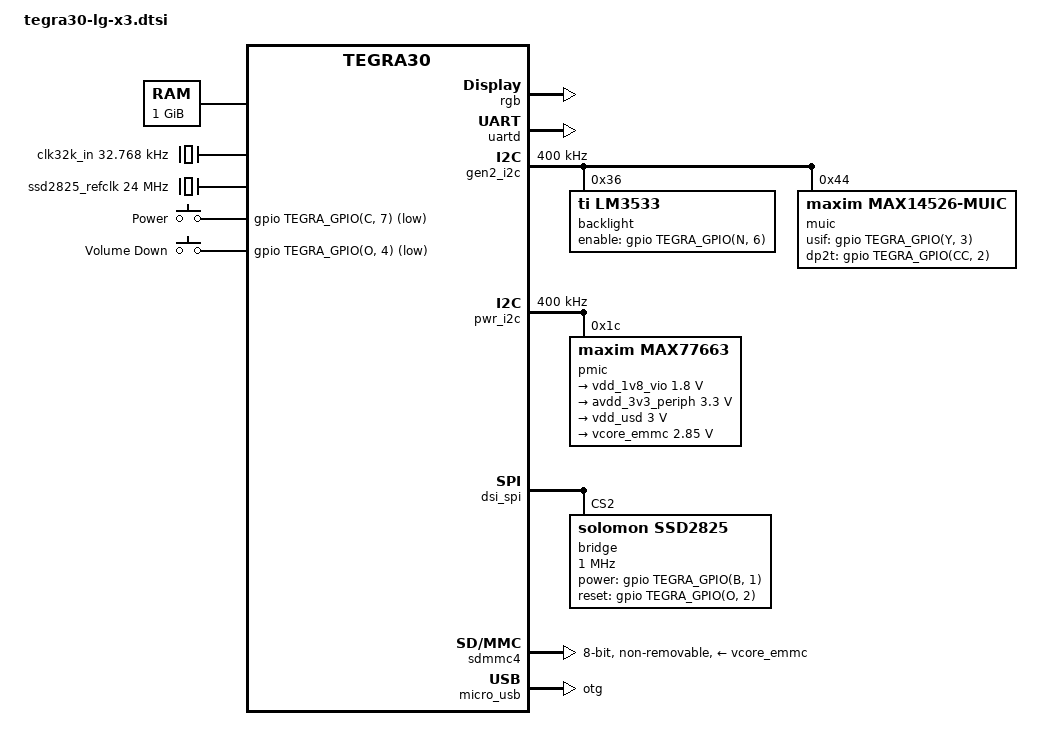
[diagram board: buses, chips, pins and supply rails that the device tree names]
// SPDX-License-Identifier: GPL-2.0

#include <dt-bindings/input/input.h>
#include "tegra30.dtsi"

/ {
	chosen {
		stdout-path = &uartd;
	};

	aliases {
		i2c0 = &pwr_i2c;
		i2c1 = &gen2_i2c;

		mmc0 = &sdmmc4;	/* eMMC */

		rtc0 = &pmic;
		rtc1 = "/rtc@7000e000";

		spi0 = &dsi_spi;

		usb0 = &micro_usb;
	};

	memory {
		device_type = "memory";
		reg = <0x80000000 0x40000000>;
	};

	host1x@50000000 {
		dc@54200000 {
			rgb {
				status = "okay";

				nvidia,panel = <&bridge>;
			};
		};
	};

	pinmux@70000868 {
		pinctrl-names = "default";
		pinctrl-0 = <&state_default>;

		state_default: pinmux {
			/* WLAN SDIO pinmux */
			sdmmc1_clk {
				nvidia,pins = "sdmmc1_clk_pz0";
				nvidia,function = "sdmmc1";
				nvidia,pull = <TEGRA_PIN_PULL_NONE>;
				nvidia,tristate = <TEGRA_PIN_DISABLE>;
				nvidia,enable-input = <TEGRA_PIN_ENABLE>;
			};
			sdmmc1_cmd {
				nvidia,pins = "sdmmc1_cmd_pz1",
						"sdmmc1_dat3_py4",
						"sdmmc1_dat2_py5",
						"sdmmc1_dat1_py6",
						"sdmmc1_dat0_py7";
				nvidia,function = "sdmmc1";
				nvidia,pull = <TEGRA_PIN_PULL_UP>;
				nvidia,tristate = <TEGRA_PIN_DISABLE>;
				nvidia,enable-input = <TEGRA_PIN_ENABLE>;
			};
			wlan_reset {
				nvidia,pins = "pv3";
				nvidia,function = "rsvd2";
				nvidia,pull = <TEGRA_PIN_PULL_NONE>;
				nvidia,tristate = <TEGRA_PIN_DISABLE>;
				nvidia,enable-input = <TEGRA_PIN_DISABLE>;
			};
			wlan_host_wake {
				nvidia,pins = "pu6";
				nvidia,function = "pwm3";
				nvidia,pull = <TEGRA_PIN_PULL_DOWN>;
				nvidia,tristate = <TEGRA_PIN_DISABLE>;
				nvidia,enable-input = <TEGRA_PIN_ENABLE>;
			};

			/* GNSS UART-B pinmux */
			gps_pwr_en {
				nvidia,pins = "kb_row6_pr6";
				nvidia,function = "kbc";
				nvidia,pull = <TEGRA_PIN_PULL_DOWN>;
				nvidia,tristate = <TEGRA_PIN_DISABLE>;
				nvidia,enable-input = <TEGRA_PIN_DISABLE>;
			};
			gps_ldo_en {
				nvidia,pins = "ulpi_dir_py1";
				nvidia,function = "rsvd2";
				nvidia,pull = <TEGRA_PIN_PULL_NONE>;
				nvidia,tristate = <TEGRA_PIN_DISABLE>;
				nvidia,enable-input = <TEGRA_PIN_DISABLE>;
			};
			gps_clk_ref {
				nvidia,pins = "gmi_ad8_ph0";
				nvidia,function = "gmi";
				nvidia,pull = <TEGRA_PIN_PULL_NONE>;
				nvidia,tristate = <TEGRA_PIN_DISABLE>;
				nvidia,enable-input = <TEGRA_PIN_DISABLE>;
			};

			/* Bluetooth UART-C pinmux */
			uartc_cts_rxd {
				nvidia,pins = "uart3_cts_n_pa1",
						"uart3_rxd_pw7";
				nvidia,function = "uartc";
				nvidia,pull = <TEGRA_PIN_PULL_NONE>;
				nvidia,tristate = <TEGRA_PIN_DISABLE>;
				nvidia,enable-input = <TEGRA_PIN_ENABLE>;
			};
			uartc_rts_txd {
				nvidia,pins = "uart3_rts_n_pc0",
						"uart3_txd_pw6";
				nvidia,function = "uartc";
				nvidia,pull = <TEGRA_PIN_PULL_NONE>;
				nvidia,tristate = <TEGRA_PIN_DISABLE>;
				nvidia,enable-input = <TEGRA_PIN_DISABLE>;
			};
			bt_reset {
				nvidia,pins = "clk2_req_pcc5";
				nvidia,function = "dap";
				nvidia,pull = <TEGRA_PIN_PULL_NONE>;
				nvidia,tristate = <TEGRA_PIN_DISABLE>;
				nvidia,enable-input = <TEGRA_PIN_DISABLE>;
			};
			bt_dev_wake {
				nvidia,pins = "kb_row11_ps3";
				nvidia,function = "kbc";
				nvidia,pull = <TEGRA_PIN_PULL_DOWN>;
				nvidia,tristate = <TEGRA_PIN_DISABLE>;
				nvidia,enable-input = <TEGRA_PIN_DISABLE>;
			};
			bt_host_wake {
				nvidia,pins = "kb_row12_ps4";
				nvidia,function = "kbc";
				nvidia,pull = <TEGRA_PIN_PULL_DOWN>;
				nvidia,tristate = <TEGRA_PIN_DISABLE>;
				nvidia,enable-input = <TEGRA_PIN_ENABLE>;
			};
			bt_pcm_dap4 {
				nvidia,pins = "dap4_fs_pp4",
						"dap4_din_pp5",
						"dap4_dout_pp6",
						"dap4_sclk_pp7";
				nvidia,function = "i2s3";
				nvidia,pull = <TEGRA_PIN_PULL_NONE>;
				nvidia,tristate = <TEGRA_PIN_DISABLE>;
				nvidia,enable-input = <TEGRA_PIN_ENABLE>;
			};

			/* EMMC pinmux */
			sdmmc4_clk {
				nvidia,pins = "sdmmc4_clk_pcc4";
				nvidia,function = "sdmmc4";
				nvidia,pull = <TEGRA_PIN_PULL_NONE>;
				nvidia,tristate = <TEGRA_PIN_DISABLE>;
				nvidia,enable-input = <TEGRA_PIN_ENABLE>;
			};
			sdmmc4_data {
				nvidia,pins = "sdmmc4_cmd_pt7",
						"sdmmc4_dat0_paa0",
						"sdmmc4_dat1_paa1",
						"sdmmc4_dat2_paa2",
						"sdmmc4_dat3_paa3",
						"sdmmc4_dat4_paa4",
						"sdmmc4_dat5_paa5",
						"sdmmc4_dat6_paa6",
						"sdmmc4_dat7_paa7";
				nvidia,function = "sdmmc4";
				nvidia,pull = <TEGRA_PIN_PULL_UP>;
				nvidia,tristate = <TEGRA_PIN_DISABLE>;
				nvidia,enable-input = <TEGRA_PIN_ENABLE>;
			};
			sdmmc4_reset {
				nvidia,pins = "sdmmc4_rst_n_pcc3";
				nvidia,function = "rsvd2";
				nvidia,pull = <TEGRA_PIN_PULL_DOWN>;
				nvidia,tristate = <TEGRA_PIN_DISABLE>;
				nvidia,enable-input = <TEGRA_PIN_ENABLE>;
			};

			/* I2C pinmux */
			gen1_i2c {
				nvidia,pins = "gen1_i2c_scl_pc4",
						"gen1_i2c_sda_pc5";
				nvidia,function = "i2c1";
				nvidia,pull = <TEGRA_PIN_PULL_NONE>;
				nvidia,tristate = <TEGRA_PIN_DISABLE>;
				nvidia,enable-input = <TEGRA_PIN_ENABLE>;
				nvidia,open-drain = <TEGRA_PIN_ENABLE>;
				nvidia,lock = <TEGRA_PIN_DISABLE>;
			};

			gen2_i2c {
				nvidia,pins = "gen2_i2c_scl_pt5",
						"gen2_i2c_sda_pt6";
				nvidia,function = "i2c2";
				nvidia,pull = <TEGRA_PIN_PULL_NONE>;
				nvidia,tristate = <TEGRA_PIN_DISABLE>;
				nvidia,enable-input = <TEGRA_PIN_ENABLE>;
				nvidia,open-drain = <TEGRA_PIN_ENABLE>;
				nvidia,lock = <TEGRA_PIN_DISABLE>;
			};

			cam_i2c {
				nvidia,pins = "cam_i2c_scl_pbb1",
						"cam_i2c_sda_pbb2";
				nvidia,function = "i2c3";
				nvidia,pull = <TEGRA_PIN_PULL_NONE>;
				nvidia,tristate = <TEGRA_PIN_DISABLE>;
				nvidia,enable-input = <TEGRA_PIN_ENABLE>;
				nvidia,open-drain = <TEGRA_PIN_ENABLE>;
				nvidia,lock = <TEGRA_PIN_DISABLE>;
			};

			ddc_i2c {
				nvidia,pins = "ddc_scl_pv4",
						"ddc_sda_pv5";
				nvidia,function = "i2c4";
				nvidia,pull = <TEGRA_PIN_PULL_NONE>;
				nvidia,tristate = <TEGRA_PIN_DISABLE>;
				nvidia,enable-input = <TEGRA_PIN_ENABLE>;
				nvidia,lock = <TEGRA_PIN_DISABLE>;
			};

			pwr_i2c {
				nvidia,pins = "pwr_i2c_scl_pz6",
						"pwr_i2c_sda_pz7";
				nvidia,function = "i2cpwr";
				nvidia,pull = <TEGRA_PIN_PULL_NONE>;
				nvidia,tristate = <TEGRA_PIN_DISABLE>;
				nvidia,enable-input = <TEGRA_PIN_ENABLE>;
				nvidia,open-drain = <TEGRA_PIN_ENABLE>;
				nvidia,lock = <TEGRA_PIN_DISABLE>;
			};

			mhl_i2c {
				nvidia,pins = "kb_col6_pq6",
						"kb_col7_pq7";
				nvidia,function = "kbc";
				nvidia,pull = <TEGRA_PIN_PULL_NONE>;
				nvidia,tristate = <TEGRA_PIN_DISABLE>;
				nvidia,enable-input = <TEGRA_PIN_ENABLE>;
			};

			/* GPIO keys pinmux */
			power_key {
				nvidia,pins = "gmi_wp_n_pc7";
				nvidia,function = "gmi";
				nvidia,pull = <TEGRA_PIN_PULL_UP>;
				nvidia,tristate = <TEGRA_PIN_DISABLE>;
				nvidia,enable-input = <TEGRA_PIN_ENABLE>;
			};
			volume_down {
				nvidia,pins = "ulpi_data3_po4";
				nvidia,function = "spi3";
				nvidia,pull = <TEGRA_PIN_PULL_UP>;
				nvidia,tristate = <TEGRA_PIN_DISABLE>;
				nvidia,enable-input = <TEGRA_PIN_ENABLE>;
			};

			/* Sensors pinmux */
			sen_vdd {
				nvidia,pins = "spi1_miso_px7";
				nvidia,function = "rsvd4";
				nvidia,pull = <TEGRA_PIN_PULL_NONE>;
				nvidia,tristate = <TEGRA_PIN_DISABLE>;
				nvidia,enable-input = <TEGRA_PIN_DISABLE>;
			};
			proxi_vdd {
				nvidia,pins = "spi2_miso_px1";
				nvidia,function = "gmi";
				nvidia,pull = <TEGRA_PIN_PULL_NONE>;
				nvidia,tristate = <TEGRA_PIN_DISABLE>;
				nvidia,enable-input = <TEGRA_PIN_DISABLE>;
			};
			sen_vio {
				nvidia,pins = "lcd_dc1_pd2";
				nvidia,function = "rsvd4";
				nvidia,pull = <TEGRA_PIN_PULL_NONE>;
				nvidia,tristate = <TEGRA_PIN_DISABLE>;
				nvidia,enable-input = <TEGRA_PIN_DISABLE>;
			};
			nct_irq {
				nvidia,pins = "gmi_iordy_pi5";
				nvidia,function = "rsvd1";
				nvidia,pull = <TEGRA_PIN_PULL_NONE>;
				nvidia,tristate = <TEGRA_PIN_DISABLE>;
				nvidia,enable-input = <TEGRA_PIN_ENABLE>;
			};
			bat_irq {
				nvidia,pins = "kb_row8_ps0";
				nvidia,function = "kbc";
				nvidia,pull = <TEGRA_PIN_PULL_UP>;
				nvidia,tristate = <TEGRA_PIN_DISABLE>;
				nvidia,enable-input = <TEGRA_PIN_ENABLE>;
			};
			charger_irq {
				nvidia,pins = "gmi_cs1_n_pj2";
				nvidia,function = "rsvd1";
				nvidia,pull = <TEGRA_PIN_PULL_UP>;
				nvidia,tristate = <TEGRA_PIN_DISABLE>;
				nvidia,enable-input = <TEGRA_PIN_ENABLE>;
			};
			mpu_irq {
				nvidia,pins = "gmi_ad12_ph4";
				nvidia,function = "rsvd1";
				nvidia,pull = <TEGRA_PIN_PULL_UP>;
				nvidia,tristate = <TEGRA_PIN_DISABLE>;
				nvidia,enable-input = <TEGRA_PIN_ENABLE>;
			};
			compass_irq {
				nvidia,pins = "gmi_ad13_ph5";
				nvidia,function = "rsvd1";
				nvidia,pull = <TEGRA_PIN_PULL_UP>;
				nvidia,tristate = <TEGRA_PIN_DISABLE>;
				nvidia,enable-input = <TEGRA_PIN_ENABLE>;
			};
			light_irq {
				nvidia,pins = "gmi_cs4_n_pk2";
				nvidia,function = "rsvd1";
				nvidia,pull = <TEGRA_PIN_PULL_UP>;
				nvidia,tristate = <TEGRA_PIN_DISABLE>;
				nvidia,enable-input = <TEGRA_PIN_ENABLE>;
			};

			/* LED pinmux */
			backlight_en {
				nvidia,pins = "lcd_dc0_pn6";
				nvidia,function = "rsvd3";
				nvidia,pull = <TEGRA_PIN_PULL_DOWN>;
				nvidia,tristate = <TEGRA_PIN_DISABLE>;
				nvidia,enable-input = <TEGRA_PIN_DISABLE>;
			};
			flash_led_en {
				nvidia,pins = "pbb3";
				nvidia,function = "vgp3";
				nvidia,pull = <TEGRA_PIN_PULL_NONE>;
				nvidia,tristate = <TEGRA_PIN_DISABLE>;
				nvidia,enable-input = <TEGRA_PIN_DISABLE>;
			};
			keypad_led {
				nvidia,pins = "kb_row2_pr2",
						"kb_row3_pr3";
				nvidia,function = "rsvd3";
				nvidia,pull = <TEGRA_PIN_PULL_DOWN>;
				nvidia,tristate = <TEGRA_PIN_DISABLE>;
				nvidia,enable-input = <TEGRA_PIN_DISABLE>;
			};

			/* NFC pinmux */
			nfc_irq {
				nvidia,pins = "spi2_cs1_n_pw2";
				nvidia,function = "spi2";
				nvidia,pull = <TEGRA_PIN_PULL_NONE>;
				nvidia,tristate = <TEGRA_PIN_DISABLE>;
				nvidia,enable-input = <TEGRA_PIN_ENABLE>;
			};
			nfc_ven {
				nvidia,pins = "spi1_sck_px5";
				nvidia,function = "spi1";
				nvidia,pull = <TEGRA_PIN_PULL_NONE>;
				nvidia,tristate = <TEGRA_PIN_DISABLE>;
				nvidia,enable-input = <TEGRA_PIN_DISABLE>;
			};
			nfc_firm {
				nvidia,pins = "kb_row0_pr0";
				nvidia,function = "rsvd4";
				nvidia,pull = <TEGRA_PIN_PULL_NONE>;
				nvidia,tristate = <TEGRA_PIN_DISABLE>;
				nvidia,enable-input = <TEGRA_PIN_DISABLE>;
			};

			/* DC pinmux */
			lcd_pwr {
				nvidia,pins = "lcd_pwr0_pb2",
						"lcd_pwr1_pc1";
				nvidia,function = "displaya";
				nvidia,pull = <TEGRA_PIN_PULL_NONE>;
				nvidia,tristate = <TEGRA_PIN_DISABLE>;
				nvidia,enable-input = <TEGRA_PIN_DISABLE>;
			};
			lcd_wr_n {
				nvidia,pins = "lcd_wr_n_pz3";
				nvidia,function = "displaya";
				nvidia,pull = <TEGRA_PIN_PULL_NONE>;
				nvidia,tristate = <TEGRA_PIN_DISABLE>;
				nvidia,enable-input = <TEGRA_PIN_ENABLE>;
			};
			lcd_id {
				nvidia,pins = "lcd_m1_pw1";
				nvidia,function = "displaya";
				nvidia,pull = <TEGRA_PIN_PULL_NONE>;
				nvidia,tristate = <TEGRA_PIN_ENABLE>;
				nvidia,enable-input = <TEGRA_PIN_DISABLE>;
			};
			lcd_pclk {
				nvidia,pins = "lcd_pclk_pb3",
						"lcd_de_pj1",
						"lcd_hsync_pj3",
						"lcd_vsync_pj4";
				nvidia,function = "displaya";
				nvidia,pull = <TEGRA_PIN_PULL_NONE>;
				nvidia,tristate = <TEGRA_PIN_DISABLE>;
				nvidia,enable-input = <TEGRA_PIN_ENABLE>;
			};

			lcd_rgb_blue {
				nvidia,pins = "lcd_d0_pe0",
						"lcd_d1_pe1",
						"lcd_d2_pe2",
						"lcd_d3_pe3",
						"lcd_d4_pe4",
						"lcd_d5_pe5",
						"lcd_d18_pm2",
						"lcd_d19_pm3";
				nvidia,function = "displaya";
				nvidia,pull = <TEGRA_PIN_PULL_NONE>;
				nvidia,tristate = <TEGRA_PIN_DISABLE>;
				nvidia,enable-input = <TEGRA_PIN_ENABLE>;
			};
			lcd_rgb_green {
				nvidia,pins = "lcd_d6_pe6",
						"lcd_d7_pe7",
						"lcd_d8_pf0",
						"lcd_d9_pf1",
						"lcd_d10_pf2",
						"lcd_d11_pf3",
						"lcd_d20_pm4",
						"lcd_d21_pm5";
				nvidia,function = "displaya";
				nvidia,pull = <TEGRA_PIN_PULL_NONE>;
				nvidia,tristate = <TEGRA_PIN_DISABLE>;
				nvidia,enable-input = <TEGRA_PIN_ENABLE>;
			};
			lcd_rgb_red {
				nvidia,pins = "lcd_d12_pf4",
						"lcd_d13_pf5",
						"lcd_d14_pf6",
						"lcd_d15_pf7",
						"lcd_d16_pm0",
						"lcd_d17_pm1",
						"lcd_d22_pm6",
						"lcd_d23_pm7";
				nvidia,function = "displaya";
				nvidia,pull = <TEGRA_PIN_PULL_NONE>;
				nvidia,tristate = <TEGRA_PIN_DISABLE>;
				nvidia,enable-input = <TEGRA_PIN_ENABLE>;
			};

			/* Bridge pinmux */
			bridge_reset {
				nvidia,pins = "ulpi_data1_po2";
				nvidia,function = "spi3";
				nvidia,pull = <TEGRA_PIN_PULL_UP>;
				nvidia,tristate = <TEGRA_PIN_DISABLE>;
				nvidia,enable-input = <TEGRA_PIN_DISABLE>;
			};
			rgb_ic_en {
				nvidia,pins = "gmi_a18_pb1";
				nvidia,function = "uartd";
				nvidia,pull = <TEGRA_PIN_PULL_DOWN>;
				nvidia,tristate = <TEGRA_PIN_DISABLE>;
				nvidia,enable-input = <TEGRA_PIN_DISABLE>;
			};
			bridge_clk {
				nvidia,pins = "clk3_out_pee0";
				nvidia,function = "extperiph3";
				nvidia,pull = <TEGRA_PIN_PULL_NONE>;
				nvidia,tristate = <TEGRA_PIN_DISABLE>;
				nvidia,enable-input = <TEGRA_PIN_ENABLE>;
			};

			rgb_bridge {
				nvidia,pins = "lcd_sdin_pz2",
						"lcd_sdout_pn5",
						"lcd_cs0_n_pn4",
						"lcd_sck_pz4";
				nvidia,function = "spi5";
				nvidia,pull = <TEGRA_PIN_PULL_NONE>;
				nvidia,tristate = <TEGRA_PIN_DISABLE>;
				nvidia,enable-input = <TEGRA_PIN_ENABLE>;
			};

			/* Panel pinmux */
			panel_reset {
				nvidia,pins = "lcd_cs1_n_pw0";
				nvidia,function = "rsvd4";
				nvidia,pull = <TEGRA_PIN_PULL_UP>;
				nvidia,tristate = <TEGRA_PIN_DISABLE>;
				nvidia,enable-input = <TEGRA_PIN_DISABLE>;
			};
			panel_vio {
				nvidia,pins = "ulpi_clk_py0";
				nvidia,function = "rsvd2";
				nvidia,pull = <TEGRA_PIN_PULL_DOWN>;
				nvidia,tristate = <TEGRA_PIN_DISABLE>;
				nvidia,enable-input = <TEGRA_PIN_DISABLE>;
			};

			/* Touchscreen pinmux */
			touch_vdd {
				nvidia,pins = "kb_col1_pq1";
				nvidia,function = "kbc";
				nvidia,pull = <TEGRA_PIN_PULL_NONE>;
				nvidia,tristate = <TEGRA_PIN_DISABLE>;
				nvidia,enable-input = <TEGRA_PIN_DISABLE>;
			};
			touch_vio {
				nvidia,pins = "spi1_mosi_px4";
				nvidia,function = "spi2";
				nvidia,pull = <TEGRA_PIN_PULL_NONE>;
				nvidia,tristate = <TEGRA_PIN_DISABLE>;
				nvidia,enable-input = <TEGRA_PIN_DISABLE>;
			};
			touch_int_n {
				nvidia,pins = "kb_col3_pq3";
				nvidia,function = "kbc";
				nvidia,pull = <TEGRA_PIN_PULL_NONE>;
				nvidia,tristate = <TEGRA_PIN_DISABLE>;
				nvidia,enable-input = <TEGRA_PIN_ENABLE>;
			};
			touch_rst_n {
				nvidia,pins = "ulpi_data0_po1";
				nvidia,function = "spi3";
				nvidia,pull = <TEGRA_PIN_PULL_UP>;
				nvidia,tristate = <TEGRA_PIN_ENABLE>;
				nvidia,enable-input = <TEGRA_PIN_DISABLE>;
			};
			touch_maker_id {
				nvidia,pins = "kb_col2_pq2";
				nvidia,function = "kbc";
				nvidia,pull = <TEGRA_PIN_PULL_UP>;
				nvidia,tristate = <TEGRA_PIN_DISABLE>;
				nvidia,enable-input = <TEGRA_PIN_ENABLE>;
			};

			/* MHL pinmux */
			mhl_vio {
				nvidia,pins = "pv2";
				nvidia,function = "owr";
				nvidia,pull = <TEGRA_PIN_PULL_NONE>;
				nvidia,tristate = <TEGRA_PIN_DISABLE>;
				nvidia,enable-input = <TEGRA_PIN_DISABLE>;
			};
			mhl_rst_n {
				nvidia,pins = "clk3_req_pee1";
				nvidia,function = "dev3";
				nvidia,pull = <TEGRA_PIN_PULL_UP>;
				nvidia,tristate = <TEGRA_PIN_DISABLE>;
				nvidia,enable-input = <TEGRA_PIN_DISABLE>;
			};
			mhl_int {
				nvidia,pins = "crt_vsync_pv7";
				nvidia,function = "rsvd2";
				nvidia,pull = <TEGRA_PIN_PULL_NONE>;
				nvidia,tristate = <TEGRA_PIN_DISABLE>;
				nvidia,enable-input = <TEGRA_PIN_ENABLE>;
			};
			mhl_sel {
				nvidia,pins = "kb_row10_ps2";
				nvidia,function = "kbc";
				nvidia,pull = <TEGRA_PIN_PULL_DOWN>;
				nvidia,tristate = <TEGRA_PIN_DISABLE>;
				nvidia,enable-input = <TEGRA_PIN_DISABLE>;
			};
			hdmi_hpd {
				nvidia,pins = "hdmi_int_pn7";
				nvidia,function = "hdmi";
				nvidia,pull = <TEGRA_PIN_PULL_NONE>;
				nvidia,tristate = <TEGRA_PIN_ENABLE>;
				nvidia,enable-input = <TEGRA_PIN_ENABLE>;
			};

			/* AUDIO pinmux */
			hp_detect {
				nvidia,pins = "pbb6";
				nvidia,function = "vgp6";
				nvidia,pull = <TEGRA_PIN_PULL_NONE>;
				nvidia,tristate = <TEGRA_PIN_DISABLE>;
				nvidia,enable-input = <TEGRA_PIN_ENABLE>;
			};
			hp_hook {
				nvidia,pins = "ulpi_data4_po5";
				nvidia,function = "ulpi";
				nvidia,pull = <TEGRA_PIN_PULL_DOWN>;
				nvidia,tristate = <TEGRA_PIN_DISABLE>;
				nvidia,enable-input = <TEGRA_PIN_ENABLE>;
			};
			ear_mic_en {
				nvidia,pins = "spi2_mosi_px0";
				nvidia,function = "spi2";
				nvidia,pull = <TEGRA_PIN_PULL_DOWN>;
				nvidia,tristate = <TEGRA_PIN_DISABLE>;
				nvidia,enable-input = <TEGRA_PIN_DISABLE>;
			};
			audio_irq {
				nvidia,pins = "spi2_cs2_n_pw3";
				nvidia,function = "spi3";
				nvidia,pull = <TEGRA_PIN_PULL_NONE>;
				nvidia,tristate = <TEGRA_PIN_DISABLE>;
				nvidia,enable-input = <TEGRA_PIN_ENABLE>;
			};

			audio_mclk {
				nvidia,pins = "clk1_out_pw4";
				nvidia,function = "extperiph1";
				nvidia,pull = <TEGRA_PIN_PULL_DOWN>;
				nvidia,tristate = <TEGRA_PIN_DISABLE>;
				nvidia,enable-input = <TEGRA_PIN_ENABLE>;
			};
			dap_i2s0 {
				nvidia,pins = "dap1_fs_pn0",
						"dap1_din_pn1",
						"dap1_dout_pn2",
						"dap1_sclk_pn3";
				nvidia,function = "i2s0";
				nvidia,pull = <TEGRA_PIN_PULL_NONE>;
				nvidia,tristate = <TEGRA_PIN_DISABLE>;
				nvidia,enable-input = <TEGRA_PIN_ENABLE>;
			};
			dap_i2s1 {
				nvidia,pins = "dap2_fs_pa2",
						"dap2_sclk_pa3",
						"dap2_din_pa4",
						"dap2_dout_pa5";
				nvidia,function = "i2s1";
				nvidia,pull = <TEGRA_PIN_PULL_NONE>;
				nvidia,tristate = <TEGRA_PIN_DISABLE>;
				nvidia,enable-input = <TEGRA_PIN_ENABLE>;
			};

			/* MUIC pinmux */
			muic_irq {
				nvidia,pins = "gmi_cs0_n_pj0";
				nvidia,function = "gmi";
				nvidia,pull = <TEGRA_PIN_PULL_UP>;
				nvidia,tristate = <TEGRA_PIN_DISABLE>;
				nvidia,enable-input = <TEGRA_PIN_ENABLE>;
			};
			muic_dp2t {
				nvidia,pins = "pcc2";
				nvidia,function = "rsvd2";
				nvidia,pull = <TEGRA_PIN_PULL_NONE>;
				nvidia,tristate = <TEGRA_PIN_DISABLE>;
				nvidia,enable-input = <TEGRA_PIN_DISABLE>;
			};
			muic_usif {
				nvidia,pins = "ulpi_stp_py3";
				nvidia,function = "spi1";
				nvidia,pull = <TEGRA_PIN_PULL_NONE>;
				nvidia,tristate = <TEGRA_PIN_DISABLE>;
				nvidia,enable-input = <TEGRA_PIN_DISABLE>;
			};
			ifx_usb_vbus_en {
				nvidia,pins = "kb_row4_pr4";
				nvidia,function = "rsvd4";
				nvidia,pull = <TEGRA_PIN_PULL_DOWN>;
				nvidia,tristate = <TEGRA_PIN_DISABLE>;
				nvidia,enable-input = <TEGRA_PIN_DISABLE>;
			};
			pcb_rev {
				nvidia,pins = "gmi_wait_pi7",
						"gmi_rst_n_pi4";
				nvidia,function = "gmi";
				nvidia,pull = <TEGRA_PIN_PULL_UP>;
				nvidia,tristate = <TEGRA_PIN_DISABLE>;
				nvidia,enable-input = <TEGRA_PIN_ENABLE>;
			};
			jtag_rtck {
				nvidia,pins = "jtag_rtck_pu7";
				nvidia,function = "rtck";
				nvidia,pull = <TEGRA_PIN_PULL_NONE>;
				nvidia,tristate = <TEGRA_PIN_DISABLE>;
				nvidia,enable-input = <TEGRA_PIN_DISABLE>;
			};

			/* Camera pinmux */
			cam_mclk {
				nvidia,pins = "cam_mclk_pcc0";
				nvidia,function = "vi_alt3";
				nvidia,pull = <TEGRA_PIN_PULL_UP>;
				nvidia,tristate = <TEGRA_PIN_DISABLE>;
				nvidia,enable-input = <TEGRA_PIN_ENABLE>;
			};
			cam_pmic_en {
				nvidia,pins = "pbb4";
				nvidia,function = "vgp4";
				nvidia,pull = <TEGRA_PIN_PULL_NONE>;
				nvidia,tristate = <TEGRA_PIN_DISABLE>;
				nvidia,enable-input = <TEGRA_PIN_DISABLE>;
			};
			front_cam_rst {
				nvidia,pins = "pbb5";
				nvidia,function = "vgp5";
				nvidia,pull = <TEGRA_PIN_PULL_NONE>;
				nvidia,tristate = <TEGRA_PIN_DISABLE>;
				nvidia,enable-input = <TEGRA_PIN_DISABLE>;
			};
			front_cam_vio {
				nvidia,pins = "ulpi_nxt_py2";
				nvidia,function = "rsvd2";
				nvidia,pull = <TEGRA_PIN_PULL_NONE>;
				nvidia,tristate = <TEGRA_PIN_DISABLE>;
				nvidia,enable-input = <TEGRA_PIN_DISABLE>;
			};
			rear_cam_rst {
				nvidia,pins = "gmi_cs3_n_pk4";
				nvidia,function = "rsvd1";
				nvidia,pull = <TEGRA_PIN_PULL_NONE>;
				nvidia,tristate = <TEGRA_PIN_DISABLE>;
				nvidia,enable-input = <TEGRA_PIN_DISABLE>;
			};
			rear_cam_eprom_pr {
				nvidia,pins = "gmi_cs2_n_pk3";
				nvidia,function = "rsvd1";
				nvidia,pull = <TEGRA_PIN_PULL_NONE>;
				nvidia,tristate = <TEGRA_PIN_DISABLE>;
				nvidia,enable-input = <TEGRA_PIN_DISABLE>;
			};
			rear_cam_vcm_pwdn {
				nvidia,pins = "kb_row1_pr1";
				nvidia,function = "kbc";
				nvidia,pull = <TEGRA_PIN_PULL_UP>;
				nvidia,tristate = <TEGRA_PIN_DISABLE>;
				nvidia,enable-input = <TEGRA_PIN_ENABLE>;
			};

			/* Haptic pinmux */
			haptic_en {
				nvidia,pins = "gmi_ad9_ph1";
				nvidia,function = "gmi";
				nvidia,pull = <TEGRA_PIN_PULL_DOWN>;
				nvidia,tristate = <TEGRA_PIN_DISABLE>;
				nvidia,enable-input = <TEGRA_PIN_DISABLE>;
			};
			haptic_osc {
				nvidia,pins = "gmi_ad11_ph3";
				nvidia,function = "pwm3";
				nvidia,pull = <TEGRA_PIN_PULL_NONE>;
				nvidia,tristate = <TEGRA_PIN_DISABLE>;
				nvidia,enable-input = <TEGRA_PIN_DISABLE>;
			};

			/* Modem pinmux */
			cp2ap_ack1_host_active {
				nvidia,pins = "pu5";
				nvidia,function = "rsvd4";
				nvidia,pull = <TEGRA_PIN_PULL_DOWN>;
				nvidia,tristate = <TEGRA_PIN_DISABLE>;
				nvidia,enable-input = <TEGRA_PIN_DISABLE>;
			};
			cp2ap_ack2_host_wakeup {
				nvidia,pins = "pv0";
				nvidia,function = "rsvd4";
				nvidia,pull = <TEGRA_PIN_PULL_UP>;
				nvidia,tristate = <TEGRA_PIN_DISABLE>;
				nvidia,enable-input = <TEGRA_PIN_ENABLE>;
			};
			ap2cp_ack2_suspend_req {
				nvidia,pins = "kb_row14_ps6";
				nvidia,function = "kbc";
				nvidia,pull = <TEGRA_PIN_PULL_NONE>;
				nvidia,tristate = <TEGRA_PIN_DISABLE>;
				nvidia,enable-input = <TEGRA_PIN_ENABLE>;
			};
			ap2cp_ack1_slave_wakeup {
				nvidia,pins = "kb_row15_ps7";
				nvidia,function = "kbc";
				nvidia,pull = <TEGRA_PIN_PULL_DOWN>;
				nvidia,tristate = <TEGRA_PIN_DISABLE>;
				nvidia,enable-input = <TEGRA_PIN_DISABLE>;
			};

			cp_kkp {
				nvidia,pins = "kb_col0_pq0";
				nvidia,function = "kbc";
				nvidia,pull = <TEGRA_PIN_PULL_UP>;
				nvidia,tristate = <TEGRA_PIN_DISABLE>;
				nvidia,enable-input = <TEGRA_PIN_ENABLE>;
			};
			cp_crash_irq {
				nvidia,pins = "kb_row13_ps5";
				nvidia,function = "kbc";
				nvidia,pull = <TEGRA_PIN_PULL_UP>;
				nvidia,tristate = <TEGRA_PIN_DISABLE>;
				nvidia,enable-input = <TEGRA_PIN_ENABLE>;
			};

			ap2cp_uarta_tx_ipc {
				nvidia,pins = "pu0";
				nvidia,function = "uarta";
				nvidia,pull = <TEGRA_PIN_PULL_NONE>;
				nvidia,tristate = <TEGRA_PIN_DISABLE>;
				nvidia,enable-input = <TEGRA_PIN_DISABLE>;
			};
			ap2cp_uarta_rx_ipc {
				nvidia,pins = "pu1";
				nvidia,function = "uarta";
				nvidia,pull = <TEGRA_PIN_PULL_NONE>;
				nvidia,tristate = <TEGRA_PIN_DISABLE>;
				nvidia,enable-input = <TEGRA_PIN_ENABLE>;
			};
			fota_ap_cts_cp_rts {
				nvidia,pins = "pu2";
				nvidia,function = "uarta";
				nvidia,pull = <TEGRA_PIN_PULL_NONE>;
				nvidia,tristate = <TEGRA_PIN_ENABLE>;
				nvidia,enable-input = <TEGRA_PIN_ENABLE>;
			};
			fota_ap_rts_cp_cts {
				nvidia,pins = "pu3";
				nvidia,function = "uarta";
				nvidia,pull = <TEGRA_PIN_PULL_NONE>;
				nvidia,tristate = <TEGRA_PIN_ENABLE>;
				nvidia,enable-input = <TEGRA_PIN_ENABLE>;
			};

			modem_enable {
				nvidia,pins = "ulpi_data7_po0";
				nvidia,function = "hsi";
				nvidia,pull = <TEGRA_PIN_PULL_NONE>;
				nvidia,tristate = <TEGRA_PIN_DISABLE>;
				nvidia,enable-input = <TEGRA_PIN_DISABLE>;
			};
			modem_reset {
				nvidia,pins = "pv1";
				nvidia,function = "rsvd1";
				nvidia,pull = <TEGRA_PIN_PULL_NONE>;
				nvidia,tristate = <TEGRA_PIN_DISABLE>;
				nvidia,enable-input = <TEGRA_PIN_DISABLE>;
			};

			dap_i2s2 {
				nvidia,pins = "dap3_fs_pp0",
						"dap3_din_pp1",
						"dap3_dout_pp2",
						"dap3_sclk_pp3";
				nvidia,function = "i2s2";
				nvidia,pull = <TEGRA_PIN_PULL_NONE>;
				nvidia,tristate = <TEGRA_PIN_DISABLE>;
				nvidia,enable-input = <TEGRA_PIN_ENABLE>;
			};

			/* GPIO power/drive control */
			drive_i2c {
				nvidia,pins = "drive_dbg",
						"drive_at5",
						"drive_gme",
						"drive_ddc",
						"drive_ao1";
				nvidia,high-speed-mode = <TEGRA_PIN_DISABLE>;
				nvidia,schmitt = <TEGRA_PIN_ENABLE>;
				nvidia,low-power-mode = <TEGRA_PIN_LP_DRIVE_DIV_1>;
				nvidia,pull-down-strength = <31>;
				nvidia,pull-up-strength = <31>;
				nvidia,slew-rate-rising = <TEGRA_PIN_SLEW_RATE_FASTEST>;
				nvidia,slew-rate-falling = <TEGRA_PIN_SLEW_RATE_FASTEST>;
			};

			drive_uart3 {
				nvidia,pins = "drive_uart3";
				nvidia,high-speed-mode = <TEGRA_PIN_DISABLE>;
				nvidia,schmitt = <TEGRA_PIN_ENABLE>;
				nvidia,low-power-mode = <TEGRA_PIN_LP_DRIVE_DIV_1>;
				nvidia,pull-down-strength = <31>;
				nvidia,pull-up-strength = <31>;
				nvidia,slew-rate-rising = <TEGRA_PIN_SLEW_RATE_FASTEST>;
				nvidia,slew-rate-falling = <TEGRA_PIN_SLEW_RATE_FASTEST>;
			};

			drive_gmi {
				nvidia,pins = "drive_at3";
				nvidia,high-speed-mode = <TEGRA_PIN_DISABLE>;
				nvidia,schmitt = <TEGRA_PIN_ENABLE>;
				nvidia,low-power-mode = <TEGRA_PIN_LP_DRIVE_DIV_1>;
				nvidia,pull-down-strength = <31>;
				nvidia,pull-up-strength = <31>;
				nvidia,slew-rate-rising = <TEGRA_PIN_SLEW_RATE_FASTEST>;
				nvidia,slew-rate-falling = <TEGRA_PIN_SLEW_RATE_FASTEST>;
			};
		};
	};

	uartd: serial@70006300 {
		status = "okay";
	};

	gen2_i2c: i2c@7000c400 {
		status = "okay";
		clock-frequency = <400000>;

		backlight: lm3533@36 {
			compatible = "ti,lm3533";
			reg = <0x36>;

			enable-gpios = <&gpio TEGRA_GPIO(N, 6) GPIO_ACTIVE_HIGH>;
			default-brightness-level = <128>;
		};

		muic@44 {
			compatible = "maxim,max14526-muic";
			reg = <0x44>;

			maxim,ap-usb;

			usif-gpios = <&gpio TEGRA_GPIO(Y, 3) GPIO_ACTIVE_HIGH>;
			dp2t-gpios = <&gpio TEGRA_GPIO(CC, 2) GPIO_ACTIVE_HIGH>;
		};
	};

	pwr_i2c: i2c@7000d000 {
		status = "okay";
		clock-frequency = <400000>;

		pmic: max77663@1c {
			compatible = "maxim,max77663";
			reg = <0x1c>;

			interrupts = <GIC_SPI 86 IRQ_TYPE_LEVEL_HIGH>;
			#interrupt-cells = <2>;
			interrupt-controller;

			#gpio-cells = <2>;
			gpio-controller;

			system-power-controller;

			regulators {
				vdd_1v8_vio: sd2 {
					regulator-name = "vdd_1v8_gen";
					regulator-min-microvolt = <1800000>;
					regulator-max-microvolt = <1800000>;
					regulator-always-on;
					regulator-boot-on;
				};

				avdd_3v3_periph: ldo2 {
					regulator-name = "avdd_usb";
					regulator-min-microvolt = <3300000>;
					regulator-max-microvolt = <3300000>;
					regulator-always-on;
					regulator-boot-on;
				};

				vdd_usd: ldo3 {
					regulator-name = "vdd_sdmmc3";
					regulator-min-microvolt = <3000000>;
					regulator-max-microvolt = <3000000>;
					regulator-always-on;
					regulator-boot-on;
				};

				vcore_emmc: ldo5 {
					regulator-name = "vdd_ddr_rx";
					regulator-min-microvolt = <2850000>;
					regulator-max-microvolt = <2850000>;
					regulator-boot-on;
				};
			};
		};
	};

	dsi_spi: spi@7000dc00 {
		status = "okay";
		spi-max-frequency = <25000000>;

		bridge: bridge-spi@2 {
			compatible = "solomon,ssd2825";
			reg = <2>;

			spi-cpol;
			spi-cpha;

			spi-max-frequency = <1000000>;

			power-gpios = <&gpio TEGRA_GPIO(B, 1) GPIO_ACTIVE_HIGH>;
			reset-gpios = <&gpio TEGRA_GPIO(O, 2) GPIO_ACTIVE_HIGH>;

			clocks = <&ssd2825_refclk>;
			clock-names = "tx_clk";

			panel = <&panel>;
		};
	};

	sdmmc4: sdhci@78000600 {
		status = "okay";
		bus-width = <8>;
		non-removable;

		vmmc-supply = <&vcore_emmc>;
		vqmmc-supply = <&vdd_1v8_vio>;
	};

	micro_usb: usb@7d000000 {
		status = "okay";
		dr_mode = "otg";
	};

	usb-phy@7d000000 {
		status = "okay";
		nvidia,hssync-start-delay = <0>;
		nvidia,xcvr-lsfslew = <2>;
		nvidia,xcvr-lsrslew = <2>;
		vbus-supply = <&avdd_3v3_periph>;
	};

	/* PMIC has a built-in 32KHz oscillator which is used by PMC */
	clk32k_in: clock-32k {
		compatible = "fixed-clock";
		#clock-cells = <0>;
		clock-frequency = <32768>;
		clock-output-names = "pmic-oscillator";
	};

	ssd2825_refclk: clock-ssd2825 {
		compatible = "fixed-clock";
		#clock-cells = <0>;
		clock-frequency = <24000000>;
		clock-output-names = "ssd2825-refclk";
	};

	gpio-keys {
		compatible = "gpio-keys";

		key-power {
			label = "Power";
			gpios = <&gpio TEGRA_GPIO(C, 7) GPIO_ACTIVE_LOW>;
			linux,code = <KEY_ENTER>;
		};

		key-volume-down {
			label = "Volume Down";
			gpios = <&gpio TEGRA_GPIO(O, 4) GPIO_ACTIVE_LOW>;
			linux,code = <KEY_DOWN>;
		};
	};
};
